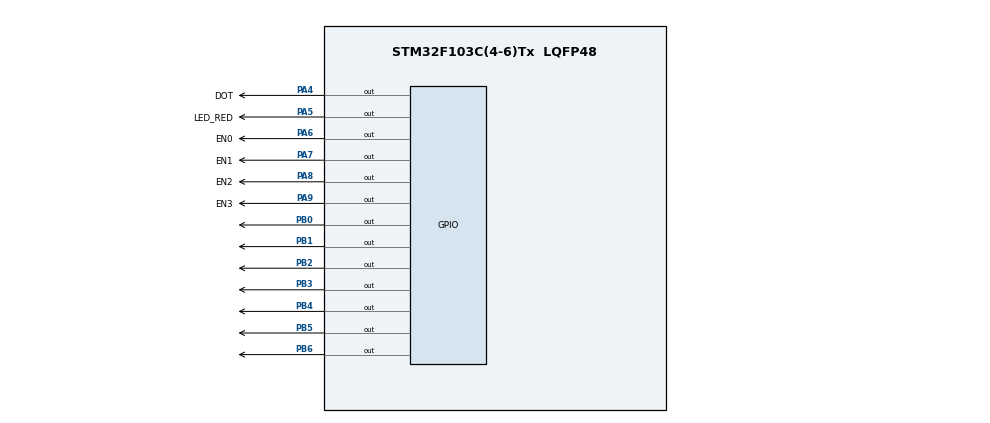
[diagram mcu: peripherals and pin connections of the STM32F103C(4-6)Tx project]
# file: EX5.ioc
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Mcu.Family=STM32F1
Mcu.Name=STM32F103C(4-6)Tx
Mcu.Package=LQFP48
NVIC.PriorityGroup=NVIC_PRIORITYGROUP_4
NVIC.TIM2_IRQn=true\:0\:0\:false\:false\:true\:true\:true
PA4.GPIO_Label=DOT
PA4.Signal=GPIO_Output
PA5.GPIO_Label=LED_RED
PA5.Signal=GPIO_Output
PA6.GPIO_Label=EN0
PA6.Signal=GPIO_Output
PA7.GPIO_Label=EN1
PA7.Signal=GPIO_Output
PA8.GPIO_Label=EN2
PA8.Signal=GPIO_Output
PA9.GPIO_Label=EN3
PA9.Signal=GPIO_Output
PB0.Signal=GPIO_Output
PB1.Signal=GPIO_Output
PB2.Signal=GPIO_Output
PB3.Signal=GPIO_Output
PB4.Signal=GPIO_Output
PB5.Signal=GPIO_Output
PB6.Signal=GPIO_Output
ProjectManager.HeapSize=0x200
ProjectManager.StackSize=0x400
ProjectManager.TargetToolchain=STM32CubeIDE
RCC.APB1Freq_Value=8000000
RCC.APB2Freq_Value=8000000
TIM2.Period=9
TIM2.Prescaler=7999
VP_SYS_VS_ND.Mode=No_Debug
VP_TIM2_VS_ClockSourceINT.Mode=Internal
board=custom

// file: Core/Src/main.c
/* USER CODE BEGIN Header */
/**
  ******************************************************************************
  * @file           : main.c
  * @brief          : Main program body
  ******************************************************************************
  * @attention
  *
  * <h2><center>&copy; Copyright (c) 2024 STMicroelectronics.
  * All rights reserved.</center></h2>
  *
  * This software component is licensed by ST under BSD 3-Clause license,
  * the "License"; You may not use this file except in compliance with the
  * License. You may obtain a copy of the License at:
  *                        opensource.org/licenses/BSD-3-Clause
  *
  ******************************************************************************
  */
/* USER CODE END Header */
#include "main.h"
#include "software_timer.h"

TIM_HandleTypeDef htim2;

void SystemClock_Config(void);
static void MX_GPIO_Init(void);
static void MX_TIM2_Init(void);

int main(void)
{

  /* MCU Configuration--------------------------------------------------------*/

  /* Reset of all peripherals, Initializes the Flash interface and the Systick. */
  HAL_Init();

  /* Configure the system clock */
  SystemClock_Config();

  /* Initialize all configured peripherals */
  MX_GPIO_Init();
  MX_TIM2_Init();
  /* USER CODE BEGIN 2 */
  HAL_TIM_Base_Start_IT(&htim2);
  /* USER CODE END 2 */

  /* Infinite loop */
  /* USER CODE BEGIN WHILE */
  void display7SEG(int num){
  	HAL_GPIO_WritePin(GPIOB, GPIO_PIN_0 | GPIO_PIN_1 | GPIO_PIN_2 | GPIO_PIN_3 | GPIO_PIN_4 | GPIO_PIN_5 | GPIO_PIN_6, SET);
  	switch (num) {
  		case 0:
  			HAL_GPIO_WritePin(GPIOB, GPIO_PIN_0 | GPIO_PIN_1 | GPIO_PIN_2 | GPIO_PIN_3 | GPIO_PIN_4 | GPIO_PIN_5, RESET);
  			break;
  		case 1:
  			HAL_GPIO_WritePin(GPIOB, GPIO_PIN_1 | GPIO_PIN_2, RESET);
  			break;
  		case 2:
  			HAL_GPIO_WritePin(GPIOB, GPIO_PIN_0 | GPIO_PIN_1 | GPIO_PIN_3 | GPIO_PIN_4 | GPIO_PIN_6, RESET);
  			break;
  		case 3:
  			HAL_GPIO_WritePin(GPIOB, GPIO_PIN_0 | GPIO_PIN_1 | GPIO_PIN_2 | GPIO_PIN_3 | GPIO_PIN_6, RESET);
  			break;
  		case 4:
  			HAL_GPIO_WritePin(GPIOB, GPIO_PIN_1 | GPIO_PIN_2 | GPIO_PIN_5 | GPIO_PIN_6, RESET);
  			break;
  		case 5:
  			HAL_GPIO_WritePin(GPIOB, GPIO_PIN_0 | GPIO_PIN_2 | GPIO_PIN_3 | GPIO_PIN_5 | GPIO_PIN_6, RESET);
  			break;
  		case 6:
  			HAL_GPIO_WritePin(GPIOB, GPIO_PIN_0 | GPIO_PIN_2 | GPIO_PIN_3 | GPIO_PIN_4 | GPIO_PIN_5 | GPIO_PIN_6, RESET);
  			break;
  		case 7:
  			HAL_GPIO_WritePin(GPIOB, GPIO_PIN_0 | GPIO_PIN_1 | GPIO_PIN_2, RESET);
  			break;
  		case 8:
  			HAL_GPIO_WritePin(GPIOB, GPIO_PIN_0 | GPIO_PIN_1 | GPIO_PIN_2 | GPIO_PIN_3 | GPIO_PIN_4 | GPIO_PIN_5 | GPIO_PIN_6, RESET);
  			break;
  		case 9:
  			HAL_GPIO_WritePin(GPIOB, GPIO_PIN_0 | GPIO_PIN_1 | GPIO_PIN_2 | GPIO_PIN_3 | GPIO_PIN_5 | GPIO_PIN_6, RESET);
  			break;
  	}
  }

  void clear(){
  	HAL_GPIO_WritePin(LED_RED_GPIO_Port, LED_RED_Pin, SET);
  	HAL_GPIO_WritePin(GPIOA, DOT_Pin, SET);
  	HAL_GPIO_WritePin(GPIOA, EN0_Pin | EN1_Pin | EN2_Pin | EN3_Pin , SET);
  	HAL_GPIO_WritePin(GPIOB, GPIO_PIN_All, SET);
  }

  int led_buffer[4] = {1 , 2 , 3 , 4};

  void update7SEG ( int index ) {
  	switch ( index ) {
  		case 0:
  			// Display the first 7 SEG with led_buffer [0]
  			HAL_GPIO_WritePin(GPIOA, EN1_Pin|EN2_Pin|EN3_Pin, GPIO_PIN_SET);
  			display7SEG(led_buffer[0]);
  			HAL_GPIO_WritePin(GPIOA, EN0_Pin, GPIO_PIN_RESET);
  			break ;
  		case 1:
  			// Display the second 7 SEG with led_buffer [1]
  			HAL_GPIO_WritePin(GPIOA, EN0_Pin|EN2_Pin|EN3_Pin, GPIO_PIN_SET);
  			display7SEG(led_buffer[1]);
  			HAL_GPIO_WritePin(GPIOA, EN1_Pin, GPIO_PIN_RESET);
  			break ;
  		case 2:
  			// Display the third 7 SEG with led_buffer [2]
  			HAL_GPIO_WritePin(GPIOA, EN1_Pin|EN0_Pin|EN3_Pin, GPIO_PIN_SET);
  			display7SEG(led_buffer[2]);
  			HAL_GPIO_WritePin(GPIOA, EN2_Pin, GPIO_PIN_RESET);
  			break ;
  		case 3:
  			// Display the forth 7 SEG with led_buffer [3]
  			HAL_GPIO_WritePin(GPIOA, EN1_Pin|EN2_Pin|EN0_Pin, GPIO_PIN_SET);
  			display7SEG(led_buffer[3]);
  			HAL_GPIO_WritePin(GPIOA, EN3_Pin, GPIO_PIN_RESET);
  			break ;
  		default :
  			break ;
  	}
  }
  int hour = 15, minute = 8, second = 50;
  void updateClockBuffer(){
	  led_buffer[0] = hour/10;
	  led_buffer[1] = hour%10;
	  led_buffer[2] = minute/10;
	  led_buffer[3] = minute%10;
  }
  setTimer1(100);
  setTimer2(25);
  setTimer3(50);
  int index = 0;
  clear();
  while (1)
  {
    /* USER CODE END WHILE */

    /* USER CODE BEGIN 3 */
	  if (timer1_flag == 1){
		  setTimer1(100);
		  HAL_GPIO_TogglePin(GPIOA, LED_RED_Pin);
		  second++;
		  if(second >= 60) {
			  second = 0;
			  minute++;
		  }
		  if(minute >= 60) {
			  minute = 0;
			  hour++;
		  }
		  if(hour >= 24) {
			  hour = 0;
		  }
	  }
	  if (timer3_flag == 1){
		  setTimer3(100);
		  HAL_GPIO_TogglePin(GPIOA, DOT_Pin);
	  }
	  if (timer2_flag == 1){
		  updateClockBuffer();
		  setTimer2(25);
		  if (index == 4) index = 0;
		  update7SEG(index);
		  index = index + 1;
	  }
  }

  /* USER CODE END 3 */
}

void SystemClock_Config(void)
{
  RCC_OscInitTypeDef RCC_OscInitStruct = {0};
  RCC_ClkInitTypeDef RCC_ClkInitStruct = {0};

  /** Initializes the RCC Oscillators according to the specified parameters
  * in the RCC_OscInitTypeDef structure.
  */
  RCC_OscInitStruct.OscillatorType = RCC_OSCILLATORTYPE_HSI;
  RCC_OscInitStruct.HSIState = RCC_HSI_ON;
  RCC_OscInitStruct.HSICalibrationValue = RCC_HSICALIBRATION_DEFAULT;
  RCC_OscInitStruct.PLL.PLLState = RCC_PLL_NONE;
  if (HAL_RCC_OscConfig(&RCC_OscInitStruct) != HAL_OK)
  {
    Error_Handler();
  }
  /** Initializes the CPU, AHB and APB buses clocks
  */
  RCC_ClkInitStruct.ClockType = RCC_CLOCKTYPE_HCLK|RCC_CLOCKTYPE_SYSCLK
                              |RCC_CLOCKTYPE_PCLK1|RCC_CLOCKTYPE_PCLK2;
  RCC_ClkInitStruct.SYSCLKSource = RCC_SYSCLKSOURCE_HSI;
  RCC_ClkInitStruct.AHBCLKDivider = RCC_SYSCLK_DIV1;
  RCC_ClkInitStruct.APB1CLKDivider = RCC_HCLK_DIV1;
  RCC_ClkInitStruct.APB2CLKDivider = RCC_HCLK_DIV1;

  if (HAL_RCC_ClockConfig(&RCC_ClkInitStruct, FLASH_LATENCY_0) != HAL_OK)
  {
    Error_Handler();
  }
}

static void MX_TIM2_Init(void)
{

  TIM_ClockConfigTypeDef sClockSourceConfig = {0};
  TIM_MasterConfigTypeDef sMasterConfig = {0};

  htim2.Instance = TIM2;
  htim2.Init.Prescaler = 7999;
  htim2.Init.CounterMode = TIM_COUNTERMODE_UP;
  htim2.Init.Period = 9;
  htim2.Init.ClockDivision = TIM_CLOCKDIVISION_DIV1;
  htim2.Init.AutoReloadPreload = TIM_AUTORELOAD_PRELOAD_DISABLE;
  if (HAL_TIM_Base_Init(&htim2) != HAL_OK)
  {
    Error_Handler();
  }
  sClockSourceConfig.ClockSource = TIM_CLOCKSOURCE_INTERNAL;
  if (HAL_TIM_ConfigClockSource(&htim2, &sClockSourceConfig) != HAL_OK)
  {
    Error_Handler();
  }
  sMasterConfig.MasterOutputTrigger = TIM_TRGO_RESET;
  sMasterConfig.MasterSlaveMode = TIM_MASTERSLAVEMODE_DISABLE;
  if (HAL_TIMEx_MasterConfigSynchronization(&htim2, &sMasterConfig) != HAL_OK)
  {
    Error_Handler();
  }

}

static void MX_GPIO_Init(void)
{
  GPIO_InitTypeDef GPIO_InitStruct = {0};

  /* GPIO Ports Clock Enable */
  __HAL_RCC_GPIOA_CLK_ENABLE();
  __HAL_RCC_GPIOB_CLK_ENABLE();

  /*Configure GPIO pin Output Level */
  HAL_GPIO_WritePin(GPIOA, DOT_Pin|LED_RED_Pin|EN0_Pin|EN1_Pin
                          |EN2_Pin|EN3_Pin, GPIO_PIN_RESET);

  /*Configure GPIO pin Output Level */
  HAL_GPIO_WritePin(GPIOB, GPIO_PIN_0|GPIO_PIN_1|GPIO_PIN_2|GPIO_PIN_3
                          |GPIO_PIN_4|GPIO_PIN_5|GPIO_PIN_6, GPIO_PIN_RESET);

  /*Configure GPIO pins : DOT_Pin LED_RED_Pin EN0_Pin EN1_Pin
                           EN2_Pin EN3_Pin */
  GPIO_InitStruct.Pin = DOT_Pin|LED_RED_Pin|EN0_Pin|EN1_Pin
                          |EN2_Pin|EN3_Pin;
  GPIO_InitStruct.Mode = GPIO_MODE_OUTPUT_PP;
  GPIO_InitStruct.Pull = GPIO_NOPULL;
  GPIO_InitStruct.Speed = GPIO_SPEED_FREQ_LOW;
  HAL_GPIO_Init(GPIOA, &GPIO_InitStruct);

  /*Configure GPIO pins : PB0 PB1 PB2 PB3
                           PB4 PB5 PB6 */
  GPIO_InitStruct.Pin = GPIO_PIN_0|GPIO_PIN_1|GPIO_PIN_2|GPIO_PIN_3
                          |GPIO_PIN_4|GPIO_PIN_5|GPIO_PIN_6;
  GPIO_InitStruct.Mode = GPIO_MODE_OUTPUT_PP;
  GPIO_InitStruct.Pull = GPIO_NOPULL;
  GPIO_InitStruct.Speed = GPIO_SPEED_FREQ_LOW;
  HAL_GPIO_Init(GPIOB, &GPIO_InitStruct);

}

/* USER CODE BEGIN 4 */
void HAL_TIM_PeriodElapsedCallback(TIM_HandleTypeDef *htim){
	timerRun();
}
/* USER CODE END 4 */

void Error_Handler(void)
{
  __disable_irq();
  while (1)
  {
  }
}

/************************ (C) COPYRIGHT STMicroelectronics *****END OF FILE****/
